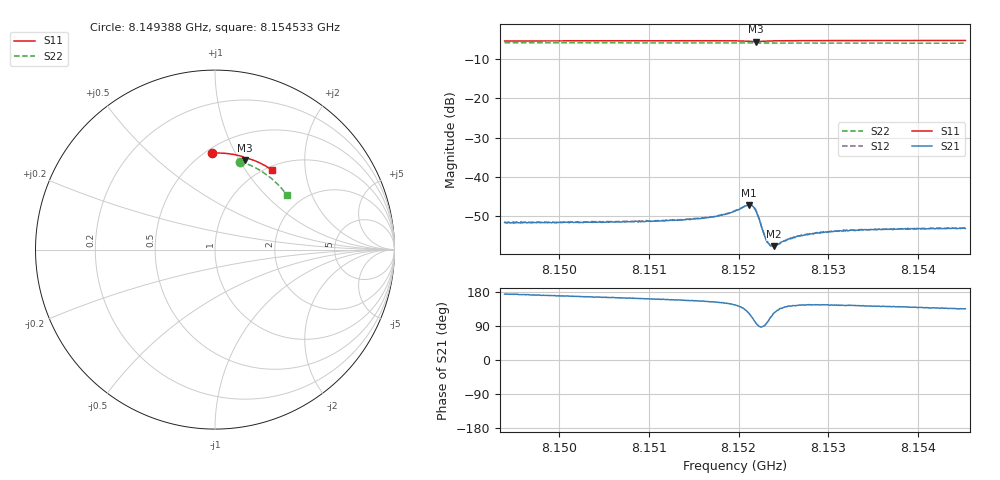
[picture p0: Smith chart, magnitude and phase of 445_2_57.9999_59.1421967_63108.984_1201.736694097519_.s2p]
#  HZ  S  RI  R  50.00
! Rohde & Schwarz Vector Network Analyzer
! Rohde-Schwarz,ZNB20-2Port,1311601062101988,3.16
! Created: UTC 3/21/2024, 1:10:13 AM
! freq[Hz]  re:S11  im:S11  re:S21  im:S21  re:S12  im:S12  re:S22  im:S22
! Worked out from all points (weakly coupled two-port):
!   401 points, 8.149388 GHz to 8.154533 GHz, reference 50 ohm
!   highest |S21| = -47.09 dB at 8.152115 GHz (marker M1); lowest = -57.6 dB at 8.152398 GHz (marker M2)
!   lowest |S11| = -5.6 dB at 8.152192 GHz (marker M3), VSWR 3.23, Z = 38.3 + j53 ohm
!   |S11| at or under -10 dB: nowhere
!   |S22| runs from -6.0 to -5.8 dB; largest |S21 - S12| = 0.00012
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8.1493882e9  -0.018 0.537  -0.00263 0.000285  -0.00262 0.000307  0.1404 0.4907
8.15025e9  0.0421 0.5371  -0.00259 0.000575  -0.0026 0.000654  0.1925 0.4715
8.1511118e9  0.102 0.5304  -0.00259 0.000942  -0.00263 0.000981  0.2419 0.4467
8.1516006e9  0.1361 0.5233  -0.00272 0.00124  -0.00273 0.00134  0.2685 0.4304
8.1517806e9  0.1492 0.5195  -0.00283 0.0015  -0.00286 0.00154  0.2781 0.4238
8.1519607e9  0.1626 0.514  -0.00305 0.00209  -0.00304 0.00213  0.2873 0.4172
8.1521151e9  0.1717 0.5032  -0.00245 0.00368  -0.0024 0.00373  0.2951 0.4111
8.1521537e9  0.1705 0.5  -0.0016 0.00401  -0.00156 0.00408  0.2968 0.4096
8.1521665e9  0.1698 0.4995  -0.00121 0.00398  -0.00117 0.00405  0.2974 0.4091
8.1521922e9  0.1679 0.4996  -0.000546 0.00371  -0.000505 0.00382  0.2986 0.4082
8.152218e9  0.1669 0.5011  -7.15e-05 0.00317  -2.34e-05 0.00323  0.2998 0.4073
8.1522951e9  0.1706 0.5065  -5.03e-05 0.00174  -4.83e-05 0.00176  0.3038 0.4045
8.1523209e9  0.1728 0.5074  -0.000244 0.00145  -0.000239 0.0015  0.3052 0.4036
8.1523337e9  0.1741 0.5077  -0.000334 0.00141  -0.000347 0.00141  0.3057 0.4031
8.1523595e9  0.1764 0.508  -0.00052 0.00122  -0.000488 0.00126  0.3071 0.4021
8.152398e9  0.1798 0.508  -0.000748 0.00109  -0.000743 0.0011  0.3091 0.4006
8.1525524e9  0.1923 0.5058  -0.00128 0.000981  -0.00125 0.00105  0.3167 0.3944
8.1526424e9  0.1989 0.5039  -0.0014 0.00104  -0.00141 0.00106  0.321 0.3906
8.1528225e9  0.2115 0.4995  -0.00157 0.00107  -0.00158 0.00113  0.3296 0.3832
8.1531827e9  0.2352 0.4896  -0.00168 0.00122  -0.00169 0.00126  0.3461 0.3674
8.1536843e9  0.2665 0.4742  -0.00169 0.00135  -0.00171 0.0014  0.3679 0.3445
8.1545333e9  0.3167 0.4438  -0.00157 0.00157  -0.00159 0.0016  0.4011 0.3028
